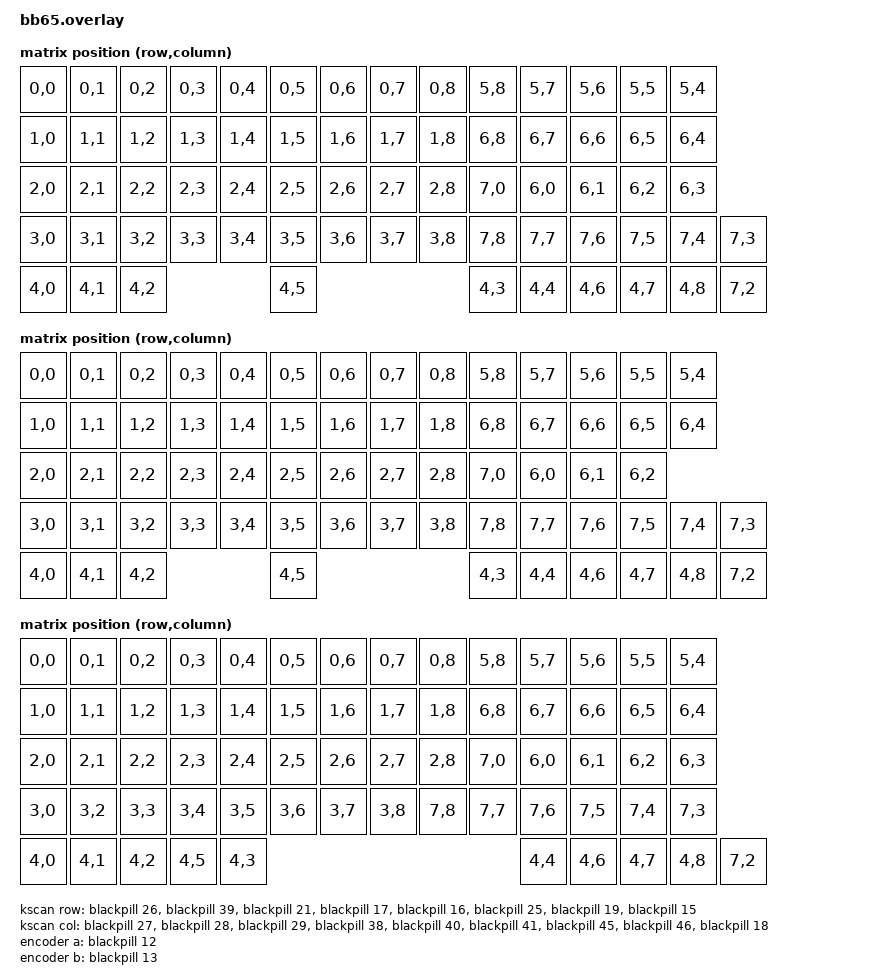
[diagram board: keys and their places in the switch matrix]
/*
 * Copyright (c) 2023 The ZMK Contributors
 *
 * SPDX-License-Identifier: MIT
 */

#include <dt-bindings/zmk/matrix_transform.h>

/ {

    chosen {
        zmk,kscan = &kscan;
        zmk,matrix-transform = &default_transform;
    };

    kscan: kscan {
        compatible = "zmk,kscan-gpio-matrix";
        diode-direction = "col2row";
        row-gpios
            = <&blackpill 26 (GPIO_ACTIVE_HIGH | GPIO_PULL_DOWN)>
            , <&blackpill 39 (GPIO_ACTIVE_HIGH | GPIO_PULL_DOWN)>
            , <&blackpill 21 (GPIO_ACTIVE_HIGH | GPIO_PULL_DOWN)>
            , <&blackpill 17 (GPIO_ACTIVE_HIGH | GPIO_PULL_DOWN)>
            , <&blackpill 16 (GPIO_ACTIVE_HIGH | GPIO_PULL_DOWN)>
            , <&blackpill 25 (GPIO_ACTIVE_HIGH | GPIO_PULL_DOWN)>
            , <&blackpill 19 (GPIO_ACTIVE_HIGH | GPIO_PULL_DOWN)>
            , <&blackpill 15 (GPIO_ACTIVE_HIGH | GPIO_PULL_DOWN)>
            ;
        col-gpios
            = <&blackpill 27 GPIO_ACTIVE_HIGH>
            , <&blackpill 28 GPIO_ACTIVE_HIGH>
            , <&blackpill 29 GPIO_ACTIVE_HIGH>
            , <&blackpill 38 GPIO_ACTIVE_HIGH>
            , <&blackpill 40 GPIO_ACTIVE_HIGH>
            , <&blackpill 41 GPIO_ACTIVE_HIGH>
            , <&blackpill 45 GPIO_ACTIVE_HIGH>
            , <&blackpill 46 GPIO_ACTIVE_HIGH>
            , <&blackpill 18 GPIO_ACTIVE_HIGH>
            ;
    };

    default_transform: keymap_transform0 {
        compatible = "zmk,matrix-transform";
        columns = <12>;
        rows = <4>;
        map = <
            RC(0,0) RC(0,1) RC(0,2) RC(0,3) RC(0,4) RC(0,5) RC(0,6) RC(0,7) RC(0,8) RC(5,8) RC(5,7) RC(5,6) RC(5,5) RC(5,4)
            RC(1,0) RC(1,1) RC(1,2) RC(1,3) RC(1,4) RC(1,5) RC(1,6) RC(1,7) RC(1,8) RC(6,8) RC(6,7) RC(6,6) RC(6,5) RC(6,4)
            RC(2,0) RC(2,1) RC(2,2) RC(2,3) RC(2,4) RC(2,5) RC(2,6) RC(2,7) RC(2,8) RC(7,0) RC(6,0) RC(6,1) RC(6,2) RC(6,3)
            RC(3,0) RC(3,1) RC(3,2) RC(3,3) RC(3,4) RC(3,5) RC(3,6) RC(3,7) RC(3,8) RC(7,8) RC(7,7) RC(7,6) RC(7,5) RC(7,4) RC(7,3)
            RC(4,0) RC(4,1) RC(4,2)                 RC(4,5)                         RC(4,3) RC(4,4) RC(4,6) RC(4,7) RC(4,8) RC(7,2)
        >;
    };

    full_enter_transform: keymap_transform1 {
        compatible = "zmk,matrix-transform";
        columns = <12>;
        rows = <4>;
        map = <
            RC(0,0) RC(0,1) RC(0,2) RC(0,3) RC(0,4) RC(0,5) RC(0,6) RC(0,7) RC(0,8) RC(5,8) RC(5,7) RC(5,6) RC(5,5) RC(5,4)
            RC(1,0) RC(1,1) RC(1,2) RC(1,3) RC(1,4) RC(1,5) RC(1,6) RC(1,7) RC(1,8) RC(6,8) RC(6,7) RC(6,6) RC(6,5) RC(6,4)
            RC(2,0) RC(2,1) RC(2,2) RC(2,3) RC(2,4) RC(2,5) RC(2,6) RC(2,7) RC(2,8) RC(7,0) RC(6,0) RC(6,1)     RC(6,2)
            RC(3,0) RC(3,1) RC(3,2) RC(3,3) RC(3,4) RC(3,5) RC(3,6) RC(3,7) RC(3,8) RC(7,8) RC(7,7) RC(7,6) RC(7,5) RC(7,4) RC(7,3)
            RC(4,0) RC(4,1) RC(4,2)                 RC(4,5)                         RC(4,3) RC(4,4) RC(4,6) RC(4,7) RC(4,8) RC(7,2)
        >;
    };

    full_lshift_transform: keymap_transform2 {
        compatible = "zmk,matrix-transform";
        columns = <12>;
        rows = <4>;
        map = <
            RC(0,0) RC(0,1) RC(0,2) RC(0,3) RC(0,4) RC(0,5) RC(0,6) RC(0,7) RC(0,8) RC(5,8) RC(5,7) RC(5,6) RC(5,5) RC(5,4)
            RC(1,0) RC(1,1) RC(1,2) RC(1,3) RC(1,4) RC(1,5) RC(1,6) RC(1,7) RC(1,8) RC(6,8) RC(6,7) RC(6,6) RC(6,5) RC(6,4)
            RC(2,0) RC(2,1) RC(2,2) RC(2,3) RC(2,4) RC(2,5) RC(2,6) RC(2,7) RC(2,8) RC(7,0) RC(6,0) RC(6,1) RC(6,2) RC(6,3)
                RC(3,0)     RC(3,2) RC(3,3) RC(3,4) RC(3,5) RC(3,6) RC(3,7) RC(3,8) RC(7,8) RC(7,7) RC(7,6) RC(7,5) RC(7,4) RC(7,3)
            RC(4,0) RC(4,1) RC(4,2)                 RC(4,5)                         RC(4,3) RC(4,4) RC(4,6) RC(4,7) RC(4,8) RC(7,2)
        >;
    };

    full_enter_full_lshift_transform: keymap_transform3 {
        compatible = "zmk,matrix-transform";
        columns = <12>;
        rows = <4>;
        map = <
            RC(0,0) RC(0,1) RC(0,2) RC(0,3) RC(0,4) RC(0,5) RC(0,6) RC(0,7) RC(0,8) RC(5,8) RC(5,7) RC(5,6) RC(5,5) RC(5,4)
            RC(1,0) RC(1,1) RC(1,2) RC(1,3) RC(1,4) RC(1,5) RC(1,6) RC(1,7) RC(1,8) RC(6,8) RC(6,7) RC(6,6) RC(6,5) RC(6,4)
            RC(2,0) RC(2,1) RC(2,2) RC(2,3) RC(2,4) RC(2,5) RC(2,6) RC(2,7) RC(2,8) RC(7,0) RC(6,0) RC(6,1)     RC(6,2)
                RC(3,0)     RC(3,2) RC(3,3) RC(3,4) RC(3,5) RC(3,6) RC(3,7) RC(3,8) RC(7,8) RC(7,7) RC(7,6) RC(7,5) RC(7,4) RC(7,3)
            RC(4,0) RC(4,1) RC(4,2)                 RC(4,5)                         RC(4,3) RC(4,4) RC(4,6) RC(4,7) RC(4,8) RC(7,2)
        >;
    };

    big_bar_transform: keymap_transform4 {
        compatible = "zmk,matrix-transform";
        columns = <12>;
        rows = <4>;
        map = <
            RC(0,0) RC(0,1) RC(0,2) RC(0,3) RC(0,4) RC(0,5) RC(0,6) RC(0,7) RC(0,8) RC(5,8) RC(5,7) RC(5,6) RC(5,5) RC(5,4)
            RC(1,0) RC(1,1) RC(1,2) RC(1,3) RC(1,4) RC(1,5) RC(1,6) RC(1,7) RC(1,8) RC(6,8) RC(6,7) RC(6,6) RC(6,5) RC(6,4)
            RC(2,0) RC(2,1) RC(2,2) RC(2,3) RC(2,4) RC(2,5) RC(2,6) RC(2,7) RC(2,8) RC(7,0) RC(6,0) RC(6,1) RC(6,2) RC(6,3)
            RC(3,0) RC(3,1) RC(3,2) RC(3,3) RC(3,4) RC(3,5) RC(3,6) RC(3,7) RC(3,8) RC(7,8) RC(7,7) RC(7,6) RC(7,5) RC(7,4) RC(7,3)
            RC(4,0) RC(4,1)                         RC(4,5)                                 RC(4,3) RC(4,6) RC(4,7) RC(4,8) RC(7,2)
        >;
    };

    big_bar_full_enter_transform: keymap_transform5 {
        compatible = "zmk,matrix-transform";
        columns = <12>;
        rows = <4>;
        map = <
            RC(0,0) RC(0,1) RC(0,2) RC(0,3) RC(0,4) RC(0,5) RC(0,6) RC(0,7) RC(0,8) RC(5,8) RC(5,7) RC(5,6) RC(5,5) RC(5,4)
            RC(1,0) RC(1,1) RC(1,2) RC(1,3) RC(1,4) RC(1,5) RC(1,6) RC(1,7) RC(1,8) RC(6,8) RC(6,7) RC(6,6) RC(6,5) RC(6,4)
            RC(2,0) RC(2,1) RC(2,2) RC(2,3) RC(2,4) RC(2,5) RC(2,6) RC(2,7) RC(2,8) RC(7,0) RC(6,0) RC(6,1)     RC(6,2)
            RC(3,0) RC(3,1) RC(3,2) RC(3,3) RC(3,4) RC(3,5) RC(3,6) RC(3,7) RC(3,8) RC(7,8) RC(7,7) RC(7,6) RC(7,5) RC(7,4) RC(7,3)
            RC(4,0) RC(4,1)                         RC(4,5)                                 RC(4,3) RC(4,6) RC(4,7) RC(4,8) RC(7,2)
        >;
    };

    big_bar_full_lshift_transform: keymap_transform6 {
        compatible = "zmk,matrix-transform";
        columns = <12>;
        rows = <4>;
        map = <
            RC(0,0) RC(0,1) RC(0,2) RC(0,3) RC(0,4) RC(0,5) RC(0,6) RC(0,7) RC(0,8) RC(5,8) RC(5,7) RC(5,6) RC(5,5) RC(5,4)
            RC(1,0) RC(1,1) RC(1,2) RC(1,3) RC(1,4) RC(1,5) RC(1,6) RC(1,7) RC(1,8) RC(6,8) RC(6,7) RC(6,6) RC(6,5) RC(6,4)
            RC(2,0) RC(2,1) RC(2,2) RC(2,3) RC(2,4) RC(2,5) RC(2,6) RC(2,7) RC(2,8) RC(7,0) RC(6,0) RC(6,1) RC(6,2) RC(6,3)
                RC(3,0)     RC(3,2) RC(3,3) RC(3,4) RC(3,5) RC(3,6) RC(3,7) RC(3,8) RC(7,8) RC(7,7) RC(7,6) RC(7,5) RC(7,4) RC(7,3)
            RC(4,0) RC(4,1)                         RC(4,5)                                 RC(4,3) RC(4,6) RC(4,7) RC(4,8) RC(7,2)
        >;
    };

    big_bar_full_enter_full_lshift_transform: keymap_transform7 {
        compatible = "zmk,matrix-transform";
        columns = <12>;
        rows = <4>;
        map = <
            RC(0,0) RC(0,1) RC(0,2) RC(0,3) RC(0,4) RC(0,5) RC(0,6) RC(0,7) RC(0,8) RC(5,8) RC(5,7) RC(5,6) RC(5,5) RC(5,4)
            RC(1,0) RC(1,1) RC(1,2) RC(1,3) RC(1,4) RC(1,5) RC(1,6) RC(1,7) RC(1,8) RC(6,8) RC(6,7) RC(6,6) RC(6,5) RC(6,4)
            RC(2,0) RC(2,1) RC(2,2) RC(2,3) RC(2,4) RC(2,5) RC(2,6) RC(2,7) RC(2,8) RC(7,0) RC(6,0) RC(6,1)     RC(6,2)
                RC(3,0)     RC(3,2) RC(3,3) RC(3,4) RC(3,5) RC(3,6) RC(3,7) RC(3,8) RC(7,8) RC(7,7) RC(7,6) RC(7,5) RC(7,4) RC(7,3)
            RC(4,0) RC(4,1)                         RC(4,5)                                 RC(4,3) RC(4,6) RC(4,7) RC(4,8) RC(7,2)
        >;
    };

    encoder: encoder {
        compatible = "alps,ec11";
        a-gpios = <&blackpill 12 (GPIO_ACTIVE_LOW | GPIO_PULL_UP)>;
        b-gpios = <&blackpill 13 (GPIO_ACTIVE_LOW | GPIO_PULL_UP)>;
        steps = <80>;
        status = "disabled";
    };

    sensors: sensors {
        compatible = "zmk,keymap-sensors";
        sensors = <&encoder>;
        triggers-per-rotation = <20>;
    };
};
